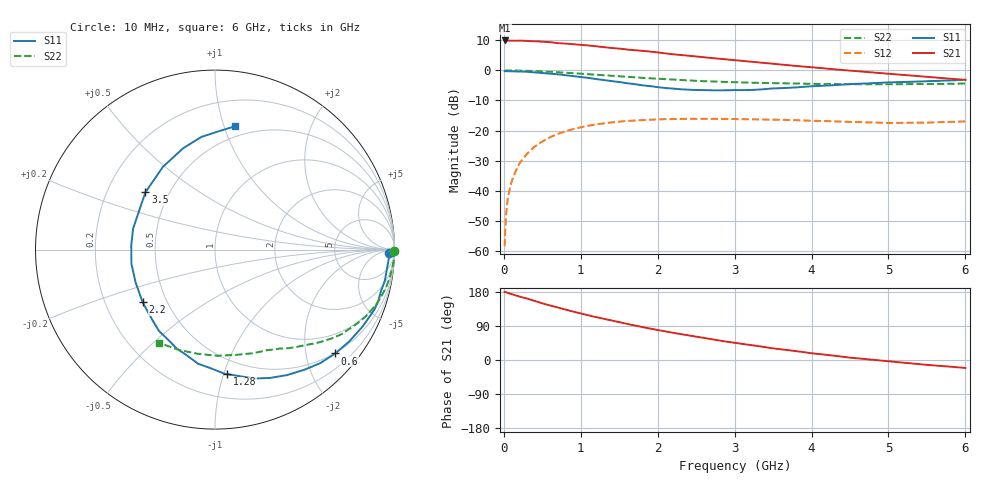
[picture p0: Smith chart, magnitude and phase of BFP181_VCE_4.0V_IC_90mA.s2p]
! Infineon Technologies  Discrete & RF Semiconductors
! BFP181
! VCE = 4.0 V,  IC =  90 mA
! Common Emitter S-Parameters:  Jan 2016
# GHz  S  MA  R  50
!  f  S11  S21  S12  S22
! GHz  MAG  ANG  MAG  ANG  MAG  ANG  MAG  ANG
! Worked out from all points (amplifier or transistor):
!   210 points, 10 MHz to 6 GHz, reference 50 ohm
!   highest |S21| = 9.9 dB at 10 MHz (marker M1)
!   |S21| within 3 dB of that: start of sweep to 1.595 GHz
!   unconditionally stable (mu >= 1): 3.16 GHz to end of sweep
!   at 185 MHz: K = 0.06, MSG = 20.8 dB, |S12| = -31.8 dB
!   at 1.52 GHz: K = 0.51, MSG = 12.1 dB, |S12| = -17.0 dB
!   at 6 GHz: K = 1.30, MAG = 3.6 dB, |S12| = -17.0 dB
!   S11 on the Smith chart (normalised r, x): 10 MHz: 49, -27; 600 MHz: 0.49, -2.61; 1.28 GHz: 0.38, -1.03; 2.2 GHz: 0.37, -0.29; 3.5 GHz: 0.37, +0.32; 6 GHz: 0.41, +1.09
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0.01  0.969 -1.0  3.143 179.5  0.0012 80.6  0.9995 -0.3
0.025  0.9716 -1.7  3.13 179.0  0.0033 90.9  0.9934 -0.8
0.05  0.9692 -3.4  3.132 177.0  0.0072 90.1  0.9965 -1.6
0.09  0.964 -6.3  3.121 174.6  0.0126 84.6  0.9976 -2.9
0.13  0.9621 -9.0  3.11 172.1  0.0179 83.3  0.996 -4.2
0.2  0.9531 -14.1  3.133 167.7  0.028 80.9  0.9918 -6.5
0.3  0.9492 -20.6  3.085 162.3  0.0409 76.7  0.9842 -9.7
0.4  0.9278 -27.4  3.049 155.5  0.0539 71.8  0.9753 -12.7
0.6  0.8853 -40.8  2.957 144.0  0.0775 62.7  0.9488 -18.8
0.82  0.8274 -54.7  2.787 132.0  0.0988 53.9  0.914 -24.5
1.02  0.7714 -68.1  2.639 121.7  0.1148 46.6  0.878 -29.5
1.28  0.6976 -84.3  2.451 109.5  0.1308 38.0  0.8341 -35.3
1.64  0.6027 -106.9  2.197 93.7  0.1455 28.5  0.7771 -41.7
2.02  0.5224 -132.4  1.975 78.4  0.1538 20.2  0.7244 -47.6
2.2  0.4988 -143.9  1.854 71.7  0.1559 16.6  0.7039 -50.6
2.8  0.4672 177.1  1.568 51.3  0.1567 7.3  0.6479 -59.2
3.1  0.4699 160.4  1.437 42.5  0.1546 3.7  0.6282 -63.7
3.5  0.5022 140.5  1.289 30.7  0.1527 0.1  0.6151 -69.8
4.1  0.5514 119.0  1.099 15.7  0.1443 -3.3  0.5952 -80.8
4.5  0.592 107.4  0.991 6.2  0.1393 -4.7  0.5917 -88.9
5.1  0.6362 95.2  0.856 -5.3  0.1344 -3.4  0.5879 -101.5
6  0.6964 80.7  0.697 -21.0  0.142 0.3  0.6054 -120.9
